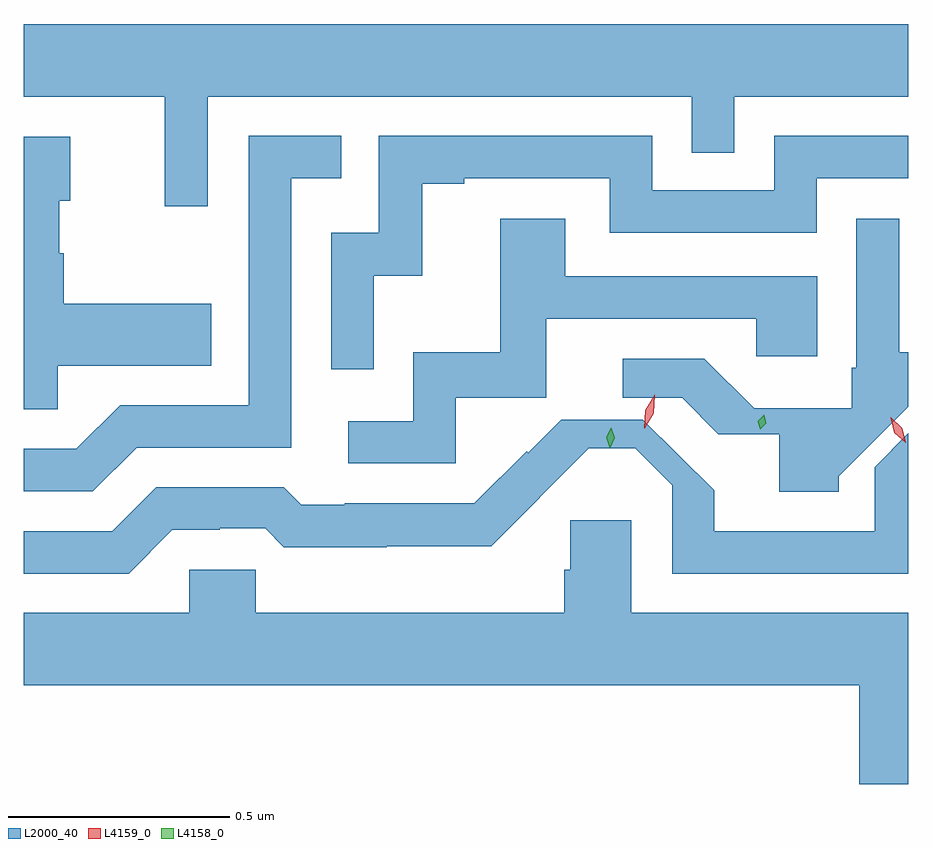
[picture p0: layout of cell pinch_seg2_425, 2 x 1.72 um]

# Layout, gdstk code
import gdstk
lib = gdstk.Library(unit=1e-6, precision=1e-09)
def P(c, l, *ps):  # polygons
    for p in ps: c.add(gdstk.Polygon(p, *l))
L2000_40 = (2000, 40)
L4158_0 = (4158, 0)
L4159_0 = (4159, 0)

pinch_seg2_425 = lib.new_cell('pinch_seg2_425')
P(pinch_seg2_425, L2000_40, [(997.575,609.008),(998.67,609.008),(998.67,608.881),(998.766,608.881),(998.766,609.008),(999.159,609.008),(999.159,609.172),(997.159,609.172),(997.159,609.008),(997.478,609.008),(997.478,608.76),(997.575,608.76)],
  [(997.95,608.603),(998.06,608.603),(998.06,608.811),(998.155,608.811),(998.155,608.823),(998.484,608.823),(998.484,608.7),(998.952,608.7),(998.952,608.823),(999.159,608.823),(999.159,608.919),(998.856,608.919),(998.856,608.796),(998.58,608.796),(998.58,608.919),(997.962,608.919),(997.962,608.7),(997.854,608.7),(997.854,608.391),(997.95,608.391)],
  [(997.414,608.214),(997.764,608.214),(997.764,608.823),(997.877,608.823),(997.877,608.919),(997.668,608.919),(997.668,608.31),(997.377,608.31),(997.278,608.211),(997.159,608.211),(997.159,608.115),(997.315,608.115)],
  [(997.236,608.399),(997.583,608.399),(997.583,608.539),(997.249,608.539),(997.249,608.654),(997.239,608.654),(997.239,608.772),(997.264,608.772),(997.264,608.917),(997.159,608.917),(997.159,608.301),(997.236,608.301)],
  [(998.136,608.327),(998.341,608.327),(998.341,608.505),(998.815,608.505),(998.815,608.42),(998.953,608.42),(998.953,608.601),(998.383,608.601),(998.383,608.731),(998.237,608.731),(998.237,608.43),(998.04,608.43),(998.04,608.274),(997.893,608.274),(997.893,608.178),(998.136,608.178)],
  [(999.002,608.149),(999.159,608.306),(999.159,608.43),(999.139,608.43),(999.139,608.731),(999.042,608.731),(999.042,608.394),(999.031,608.394),(999.031,608.303),(998.811,608.303),(998.698,608.415),(998.514,608.415),(998.514,608.327),(998.648,608.327),(998.73,608.244),(998.867,608.244),(998.867,608.114),(999.002,608.114)],
  [(997.495,608.028),(997.602,608.028),(997.602,608.031),(997.705,608.031),(997.747,607.989),(997.98,607.989),(997.98,607.991),(998.216,607.991),(998.437,608.212),(998.542,608.212),(998.625,608.129),(998.625,607.929),(999.159,607.929),(999.159,608.246),(999.083,608.17),(999.083,608.025),(998.72,608.025),(998.72,608.117),(998.559,608.277),(998.375,608.277),(998.3,608.202),(998.296,608.206),(998.178,608.088),(997.885,608.088),(997.885,608.085),(997.786,608.085),(997.747,608.124),(997.458,608.124),(997.359,608.025),(997.159,608.025),(997.159,607.929),(997.396,607.929)],
  [(999.159,607.84),(998.533,607.84),(998.533,608.049),(998.395,608.049),(998.395,607.938),(998.381,607.938),(998.381,607.84),(997.683,607.84),(997.683,607.938),(997.533,607.938),(997.533,607.84),(997.159,607.84),(997.159,607.676),(999.049,607.676),(999.049,607.453),(999.159,607.453)])
P(pinch_seg2_425, L4158_0, [(998.824,608.255),(998.824,608.255),(998.819,608.274),(998.833,608.287),(998.833,608.288),(998.834,608.287),(998.838,608.269),(998.824,608.255)],
  [(998.484,608.213),(998.484,608.213),(998.476,608.237),(998.487,608.259),(998.487,608.259),(998.487,608.259),(998.496,608.236),(998.485,608.213)])
P(pinch_seg2_425, L4159_0, [(999.154,608.225),(999.154,608.225),(999.128,608.248),(999.12,608.281),(999.12,608.282),(999.12,608.282),(999.146,608.258),(999.154,608.225)],
  [(998.562,608.258),(998.565,608.298),(998.586,608.333),(998.586,608.333),(998.586,608.332),(998.584,608.292),(998.563,608.258),(998.563,608.258)])

lib.write_gds('pinch_seg2_425.gds')
